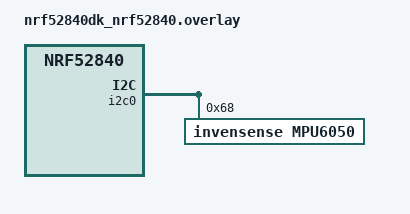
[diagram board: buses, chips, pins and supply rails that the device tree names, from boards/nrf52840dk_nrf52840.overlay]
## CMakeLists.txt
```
# SPDX-License-Identifier: Apache-2.0

cmake_minimum_required(VERSION 3.20.0)

find_package(Zephyr REQUIRED HINTS $ENV{ZEPHYR_BASE})
project(3-Hello_World)

target_sources(app PRIVATE src/main.c)
```

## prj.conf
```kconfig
CONFIG_LOG=y
CONFIG_CBPRINTF_FP_SUPPORT=y

CONFIG_SENSOR=y
CONFIG_I2C=y
```

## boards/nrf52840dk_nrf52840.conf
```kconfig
CONFIG_MPU6050=y
```

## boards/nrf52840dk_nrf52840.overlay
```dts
// To get started, press Ctrl+Space to bring up the completion menu and view the available nodes.

// You can also use the buttons in the sidebar to perform actions on nodes.
// Actions currently available include:

// * Enabling / disabling the node
// * Adding the bus to a bus
// * Removing the node
// * Connecting ADC channels

// For more help, browse the DeviceTree documentation at https://docs.zephyrproject.org/latest/guides/dts/index.html
// You can also visit the nRF DeviceTree extension documentation at https://docs.nordicsemi.com/bundle/nrf-connect-vscode/page/guides/ncs_configure_app.html#devicetree-support-in-the-extension

/ {
	aliases {
		sensor-imu = &mpu6050;
	};
};

&i2c0 {
    mpu6050: mpu6050@68 {
        compatible = "invensense,mpu6050";
        reg = <0x68>;  /* Endereço I2C padrão */
        label = "MPU6050";
    };
};
```

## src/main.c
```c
/*
 * Projeto: Sensor IMU
 * Autor: João Dullius
 * Licença: Apache-2.0
 */

 #include <zephyr/kernel.h>
 #include <zephyr/device.h>
 #include <zephyr/drivers/sensor.h>
 #include <zephyr/logging/log.h>
 
 LOG_MODULE_REGISTER(sensor_imu, LOG_LEVEL_DBG);
 
 static const struct device *init_sensor(void) {
     const struct device *dev = DEVICE_DT_GET(DT_ALIAS(sensor_imu));
     
     if (!device_is_ready(dev)) {
         LOG_ERR("Sensor IMU não encontrado!");
         return NULL;
     }
     return dev;
 }
 
 static void read_sensor_data(const struct device *sensor) {
     struct sensor_value accel[3], gyro[3];
 
     if (sensor_sample_fetch(sensor) < 0) {
         LOG_ERR("Falha ao obter amostra do sensor");
         return;
     }
 
     sensor_channel_get(sensor, SENSOR_CHAN_ACCEL_X, &accel[0]);
     sensor_channel_get(sensor, SENSOR_CHAN_ACCEL_Y, &accel[1]);
     sensor_channel_get(sensor, SENSOR_CHAN_ACCEL_Z, &accel[2]);
 
     sensor_channel_get(sensor, SENSOR_CHAN_GYRO_X, &gyro[0]);
     sensor_channel_get(sensor, SENSOR_CHAN_GYRO_Y, &gyro[1]);
     sensor_channel_get(sensor, SENSOR_CHAN_GYRO_Z, &gyro[2]);
 
     LOG_INF("Aceleração: X=%.3f, Y=%.3f, Z=%.3f", 
             sensor_value_to_double(&accel[0]), 
             sensor_value_to_double(&accel[1]), 
             sensor_value_to_double(&accel[2]));
 
     LOG_INF("Giroscópio: X=%.3f, Y=%.3f, Z=%.3f", 
             sensor_value_to_double(&gyro[0]), 
             sensor_value_to_double(&gyro[1]), 
             sensor_value_to_double(&gyro[2]));
 }
 
 int main(void) {
     const struct device *sensor = init_sensor();
     if (!sensor) {
         return -1;
     }
 
     while (1) {
         read_sensor_data(sensor);
         k_sleep(K_SECONDS(1));
     }
     return 0;
 }
 
```
